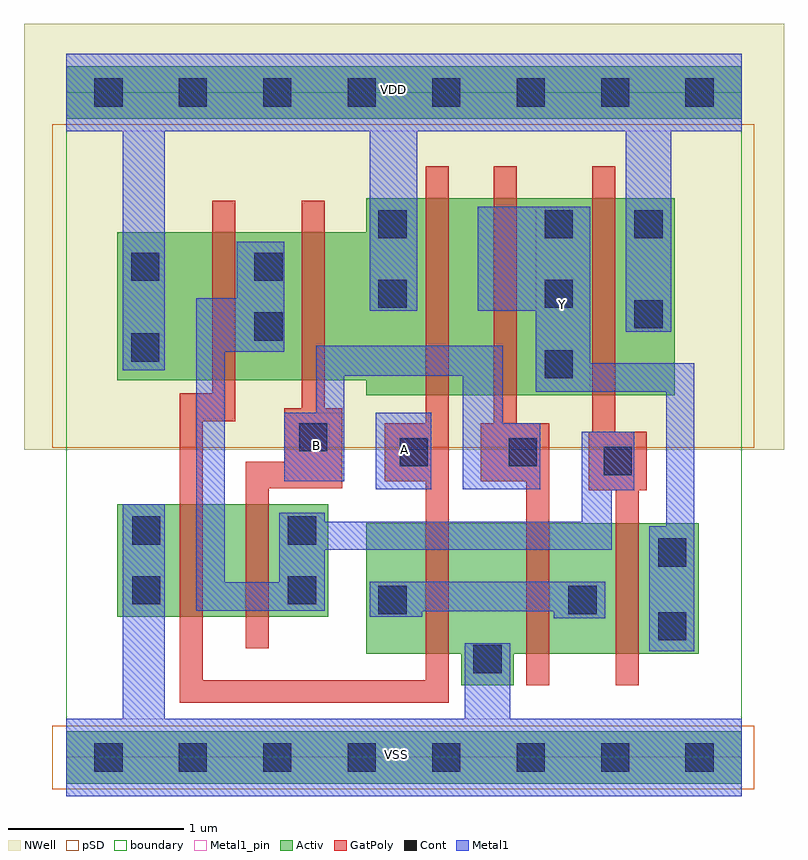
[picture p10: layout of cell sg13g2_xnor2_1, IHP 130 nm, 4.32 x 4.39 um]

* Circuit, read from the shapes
.subckt sg13g2_xnor2_1 A B VDD VSS Y
XM1 n1 A VSS VSS sg13_lv_nmos w=0.64u l=0.13u
XM2 n2 B n1 VSS sg13_lv_nmos w=0.64u l=0.13u
XM3 VSS A n3 VSS sg13_lv_nmos w=0.74u l=0.13u
XM4 n3 B VSS VSS sg13_lv_nmos w=0.74u l=0.13u
XM5 Y n2 n3 VSS sg13_lv_nmos w=0.74u l=0.13u
XM6 n2 A VDD VDD sg13_lv_pmos w=0.84u l=0.13u
XM7 VDD B n2 VDD sg13_lv_pmos w=0.84u l=0.13u
XM8 n4 A VDD VDD sg13_lv_pmos w=1.12u l=0.13u
XM9 Y B n4 VDD sg13_lv_pmos w=1.12u l=0.13u
XM10 VDD n2 Y VDD sg13_lv_pmos w=1.12u l=0.13u
.ends

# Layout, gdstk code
import gdstk
lib = gdstk.Library(unit=1e-6, precision=1e-09)
def R(c, l, rs):  # rectangles x0, y0, x1, y1
    for r in rs: c.add(gdstk.rectangle(r[:2], r[2:], *l))
def P(c, l, *ps):  # polygons
    for p in ps: c.add(gdstk.Polygon(p, *l))
Activ = (1, 0)
GatPoly = (5, 0)
Cont = (6, 0)
Metal1 = (8, 0)
Metal1_pin = (8, 2)
pSD = (14, 0)
NWell = (31, 0)
boundary = (189, 4)

sg13g2_xnor2_1 = lib.new_cell('sg13g2_xnor2_1')
R(sg13g2_xnor2_1, Activ, [(0,-0.15,3.84,0.15), (0.29,0.8,1.49,1.44), (0,3.63,3.84,3.93)])
P(sg13g2_xnor2_1, Activ, [(2.245,0.41),(2.245,0.59),(1.705,0.59),(1.705,1.33),(3.595,1.33),(3.595,0.59),(2.545,0.59),(2.545,0.41)],
  [(1.705,2.06),(1.705,2.145),(0.29,2.145),(0.29,2.985),(1.705,2.985),(1.705,3.18),(3.46,3.18),(3.46,2.06)])
P(sg13g2_xnor2_1, GatPoly, [(1.02,0.62),(1.02,1.68),(1.24,1.68),(1.24,1.985),(1.34,1.985),(1.34,3.165),(1.47,3.165),(1.47,1.985),(1.57,1.985),(1.57,1.53),(1.15,1.53),(1.15,0.62)],
  [(2.615,0.41),(2.615,1.57),(2.355,1.57),(2.355,1.9),(2.43,1.9),(2.43,3.36),(2.56,3.36),(2.56,1.9),(2.745,1.9),(2.745,0.41)],
  [(3.125,0.41),(3.125,1.52),(2.97,1.52),(2.97,1.85),(2.99,1.85),(2.99,3.36),(3.12,3.36),(3.12,1.85),(3.3,1.85),(3.3,1.52),(3.255,1.52),(3.255,0.41)],
  [(0.645,0.31),(0.645,2.07),(0.83,2.07),(0.83,3.165),(0.96,3.165),(0.96,1.91),(0.775,1.91),(0.775,0.44),(2.045,0.44),(2.045,1.57),(1.81,1.57),(1.81,1.9),(2.045,1.9),(2.045,3.36),(2.175,3.36),(2.175,0.31)])
R(sg13g2_xnor2_1, Cont, [(0.16,-0.08,0.32,0.08), (0.16,-0.08,0.32,0.08), (0.64,-0.08,0.8,0.08), (0.64,-0.08,0.8,0.08), (1.12,-0.08,1.28,0.08), (1.12,-0.08,1.28,0.08), (1.6,-0.08,1.76,0.08), (1.6,-0.08,1.76,0.08), (2.08,-0.08,2.24,0.08), (2.08,-0.08,2.24,0.08), (2.56,-0.08,2.72,0.08), (2.56,-0.08,2.72,0.08), (3.04,-0.08,3.2,0.08), (3.04,-0.08,3.2,0.08), (3.52,-0.08,3.68,0.08), (3.52,-0.08,3.68,0.08), (2.315,0.48,2.475,0.64), (3.365,0.665,3.525,0.825), (1.775,0.815,1.935,0.975), (2.855,0.815,3.015,0.975), (0.375,0.87,0.535,1.03), (1.26,0.87,1.42,1.03), (3.365,1.085,3.525,1.245), (0.375,1.21,0.535,1.37), (1.26,1.21,1.42,1.37), (3.055,1.605,3.215,1.765), (1.895,1.655,2.055,1.815), (2.515,1.655,2.675,1.815), (1.325,1.74,1.485,1.9), (2.72,2.155,2.88,2.315), (0.37,2.25,0.53,2.41), (1.07,2.37,1.23,2.53), (3.23,2.44,3.39,2.6), (1.775,2.555,1.935,2.715), (2.72,2.555,2.88,2.715), (0.37,2.71,0.53,2.87), (1.07,2.71,1.23,2.87), (1.775,2.95,1.935,3.11), (2.72,2.95,2.88,3.11), (3.23,2.95,3.39,3.11), (0.16,3.7,0.32,3.86), (0.16,3.7,0.32,3.86), (0.64,3.7,0.8,3.86), (0.64,3.7,0.8,3.86), (1.12,3.7,1.28,3.86), (1.12,3.7,1.28,3.86), (1.6,3.7,1.76,3.86), (1.6,3.7,1.76,3.86), (2.08,3.7,2.24,3.86), (2.08,3.7,2.24,3.86), (2.56,3.7,2.72,3.86), (2.56,3.7,2.72,3.86), (3.04,3.7,3.2,3.86), (3.04,3.7,3.2,3.86), (3.52,3.7,3.68,3.86), (3.52,3.7,3.68,3.86)])
R(sg13g2_xnor2_1, Metal1, [(1.76,1.525,2.075,1.96)])
P(sg13g2_xnor2_1, Metal1, [(2.255,1.525),(2.255,2.17),(1.58,2.17),(1.58,1.57),(1.24,1.57),(1.24,1.96),(1.42,1.96),(1.42,2.34),(2.48,2.34),(2.48,1.9),(2.695,1.9),(2.695,1.525)],
  [(3.315,0.605),(3.315,1.315),(3.41,1.315),(3.41,2.08),(2.67,2.08),(2.67,2.54),(2.34,2.54),(2.34,3.13),(2.98,3.13),(2.98,2.24),(3.57,2.24),(3.57,0.605)],
  [(2.77,0.79),(2.77,0.83),(2.025,0.83),(2.025,0.8),(1.725,0.8),(1.725,1),(3.065,1),(3.065,0.79)],
  [(0.74,0.835),(0.74,2.61),(0.97,2.61),(0.97,2.93),(1.24,2.93),(1.24,2.305),(0.9,2.305),(0.9,0.995),(1.21,0.995),(1.21,1.39),(1.47,1.39),(1.47,1.34),(2.93,1.34),(2.93,1.85),(3.23,1.85),(3.23,1.52),(3.1,1.52),(3.1,1.18),(1.47,1.18),(1.47,0.835)],
  [(0,-0.22),(0,0.22),(0.32,0.22),(0.32,1.44),(0.56,1.44),(0.56,0.22),(2.265,0.22),(2.265,0.65),(2.525,0.65),(2.525,0.22),(3.84,0.22),(3.84,-0.22)],
  [(0.32,2.2),(0.32,3.56),(0,3.56),(0,4),(3.84,4),(3.84,3.56),(3.44,3.56),(3.44,2.42),(3.18,2.42),(3.18,3.56),(1.995,3.56),(1.995,2.54),(1.725,2.54),(1.725,3.56),(0.56,3.56),(0.56,2.2)])
R(sg13g2_xnor2_1, Metal1_pin, [(0,-0.22,3.84,0.22), (1.76,1.525,2.075,1.96), (1.24,1.57,1.58,1.96), (2.67,2.08,2.98,3.13), (0,3.56,3.84,4)])
R(sg13g2_xnor2_1, pSD, [(-0.08,-0.18,3.91,0.18), (-0.08,1.76,3.91,3.6)])
R(sg13g2_xnor2_1, NWell, [(-0.24,1.75,4.08,4.17)])
R(sg13g2_xnor2_1, boundary, [(0,0,3.84,3.78)])
sg13g2_xnor2_1.add(gdstk.Label('VSS', (1.88,0.015), layer=8, texttype=25))
sg13g2_xnor2_1.add(gdstk.Label('A', (1.92,1.75), layer=8, texttype=25))
sg13g2_xnor2_1.add(gdstk.Label('VDD', (1.86,3.795), layer=8, texttype=25))
sg13g2_xnor2_1.add(gdstk.Label('B', (1.42,1.775), layer=8, texttype=25))
sg13g2_xnor2_1.add(gdstk.Label('Y', (2.82,2.575), layer=8, texttype=25))

lib.write_gds('sg13g2_xnor2_1.gds')
